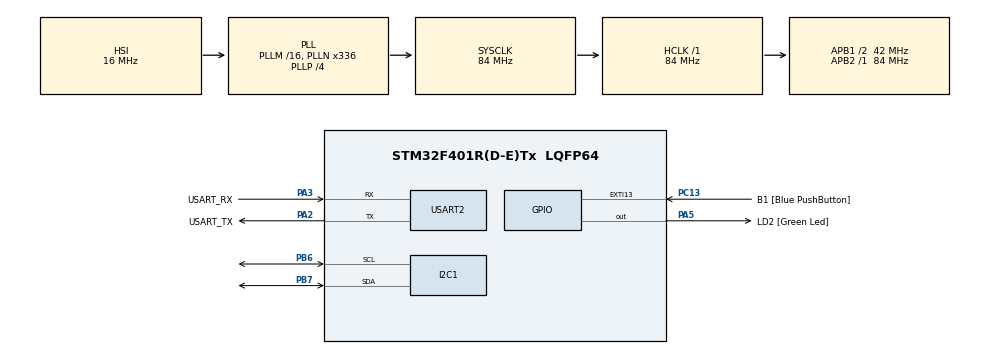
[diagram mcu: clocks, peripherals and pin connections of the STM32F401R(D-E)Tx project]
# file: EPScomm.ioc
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Mcu.Family=STM32F4
Mcu.Name=STM32F401R(D-E)Tx
Mcu.Package=LQFP64
NVIC.PriorityGroup=NVIC_PRIORITYGROUP_0
PA13.GPIO_Label=TMS
PA13.Signal=SYS_JTMS-SWDIO
PA14.GPIO_Label=TCK
PA14.Signal=SYS_JTCK-SWCLK
PA2.GPIO_Label=USART_TX
PA2.GPIO_Mode=GPIO_MODE_AF_PP
PA2.GPIO_PuPd=GPIO_NOPULL
PA2.GPIO_Speed=GPIO_SPEED_FREQ_LOW
PA2.Mode=Asynchronous
PA2.Signal=USART2_TX
PA3.GPIO_Label=USART_RX
PA3.GPIO_Mode=GPIO_MODE_AF_PP
PA3.GPIO_PuPd=GPIO_NOPULL
PA3.GPIO_Speed=GPIO_SPEED_FREQ_LOW
PA3.Mode=Asynchronous
PA3.Signal=USART2_RX
PA5.GPIO_Label=LD2 [Green Led]
PA5.GPIO_Mode=GPIO_MODE_OUTPUT_PP
PA5.GPIO_PuPd=GPIO_NOPULL
PA5.GPIO_Speed=GPIO_SPEED_FREQ_LOW
PA5.Signal=GPIO_Output
PB3.GPIO_Label=SWO
PB3.Signal=SYS_JTDO-SWO
PB6.Mode=I2C
PB6.Signal=I2C1_SCL
PB7.Mode=I2C
PB7.Signal=I2C1_SDA
PC13-ANTI_TAMP.GPIO_Label=B1 [Blue PushButton]
PC13-ANTI_TAMP.GPIO_ModeDefaultEXTI=GPIO_MODE_IT_FALLING
PC13-ANTI_TAMP.GPIO_PuPd=GPIO_NOPULL
PC13-ANTI_TAMP.Signal=GPXTI13
PC14-OSC32_IN.Signal=RCC_OSC32_IN
PC15-OSC32_OUT.Signal=RCC_OSC32_OUT
PH0\ -\ OSC_IN.Signal=RCC_OSC_IN
PH1\ -\ OSC_OUT.Signal=RCC_OSC_OUT
ProjectManager.HeapSize=0x200
ProjectManager.StackSize=0x400
ProjectManager.TargetToolchain=SW4STM32
RCC.AHBFreq_Value=84000000
RCC.APB1CLKDivider=RCC_HCLK_DIV2
RCC.APB1Freq_Value=42000000
RCC.APB1TimFreq_Value=84000000
RCC.APB2Freq_Value=84000000
RCC.APB2TimFreq_Value=84000000
RCC.CortexFreq_Value=84000000
RCC.HCLKFreq_Value=84000000
RCC.HSE_VALUE=8000000
RCC.HSI_VALUE=16000000
RCC.LSE_VALUE=32768
RCC.PLLN=336
RCC.PLLP=RCC_PLLP_DIV4
RCC.PLLQ=7
RCC.SYSCLKFreq_VALUE=84000000
RCC.SYSCLKSource=RCC_SYSCLKSOURCE_PLLCLK
RCC.VCOOutputFreq_Value=336000000
USART2.VirtualMode=VM_ASYNC
board=NUCLEO-F401RE

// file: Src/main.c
/**
  ******************************************************************************
  * File Name          : main.c
  * Description        : Main program body
  ******************************************************************************
  ** This notice applies to any and all portions of this file
  * that are not between comment pairs USER CODE BEGIN and
  * USER CODE END. Other portions of this file, whether
  * inserted by the user or by software development tools
  * are owned by their respective copyright owners.
  *
  * COPYRIGHT(c) 2018 STMicroelectronics
  *
  * Redistribution and use in source and binary forms, with or without modification,
  * are permitted provided that the following conditions are met:
  *   1. Redistributions of source code must retain the above copyright notice,
  *      this list of conditions and the following disclaimer.
  *   2. Redistributions in binary form must reproduce the above copyright notice,
  *      this list of conditions and the following disclaimer in the documentation
  *      and/or other materials provided with the distribution.
  *   3. Neither the name of STMicroelectronics nor the names of its contributors
  *      may be used to endorse or promote products derived from this software
  *      without specific prior written permission.
  *
  * THIS SOFTWARE IS PROVIDED BY THE COPYRIGHT HOLDERS AND CONTRIBUTORS "AS IS"
  * AND ANY EXPRESS OR IMPLIED WARRANTIES, INCLUDING, BUT NOT LIMITED TO, THE
  * IMPLIED WARRANTIES OF MERCHANTABILITY AND FITNESS FOR A PARTICULAR PURPOSE ARE
  * DISCLAIMED. IN NO EVENT SHALL THE COPYRIGHT HOLDER OR CONTRIBUTORS BE LIABLE
  * FOR ANY DIRECT, INDIRECT, INCIDENTAL, SPECIAL, EXEMPLARY, OR CONSEQUENTIAL
  * DAMAGES (INCLUDING, BUT NOT LIMITED TO, PROCUREMENT OF SUBSTITUTE GOODS OR
  * SERVICES; LOSS OF USE, DATA, OR PROFITS; OR BUSINESS INTERRUPTION) HOWEVER
  * CAUSED AND ON ANY THEORY OF LIABILITY, WHETHER IN CONTRACT, STRICT LIABILITY,
  * OR TORT (INCLUDING NEGLIGENCE OR OTHERWISE) ARISING IN ANY WAY OUT OF THE USE
  * OF THIS SOFTWARE, EVEN IF ADVISED OF THE POSSIBILITY OF SUCH DAMAGE.
  *
  ******************************************************************************
  */
#include "main.h"
#include "stm32f4xx_hal.h"

I2C_HandleTypeDef hi2c1;

UART_HandleTypeDef huart2;

/* USER CODE BEGIN PV */
/* Private variables ---------------------------------------------------------*/
#define EPS_ADDRESS 0x2B
#define BAT_ADDRESS 0x2A

#define DEFAULT_DATA 0x00

//EPS Module Telemetry Commands

#define EPS_BOARD_STATUS_COMMAND 0x01
#define EPS_ERROR_COMMAND 0x03
#define EPS_GET_VERSION_COMMAND 0x04
#define EPS_GET_CHECKSUM_COMMAND 0x05
#define EPS_GET_TELEMETRY 0x10
#define EPS_GET_COMMS_WATCHDOG 0x20
#define EPS_SET_COMMS_WATCHDOG 0x21
#define EPS_RESET_COMMS_WATCHDOG 0x22
#define EPS_GET_BROWNOUT_RESETS 0x31
#define EPS_GET_AUTO_SOFTWARE_RESETS 0x32
#define EPS_GET_MANUAL_RESETS 0x33
#define EPS_GET_COMMS_WATCHDOG_RESETS 0x34
#define EPS_ALLPDM_ON 0x40
#define EPS_ALLPDM_OFF 0x41
#define EPS_GET_ACTUAL_STATE_ALLPDM 0x42
#define EPS_GET_EXPECTED_STATE_ALLPDM 0x43
#define EPS_GET_INITIAL_STATE_ALLPDM 0x44
#define EPS_SET_ALLPDM_TO_INITIAL_STATE 0x45
#define EPS_SET_PDMN_ON 0x50
#define EPS_SET_PDMN_OFF 0x51
#define EPS_SET_PDMN_INITIAL_STATE_ON 0x52
#define EPS_SET_PDMN_INITIAL_STATE_OFF 0x53
#define EPS_GET_PDMN_ACTUAL_STATUS 0x54
#define EPS_SET_PDMN_TIMER_LIMIT 0x60
#define EPS_GET_PDMN_TIMER_LIMIT 0x61
#define EPS_GET_PDMN_CURRENT_TIMER_LIMIT 0x62
#define EPS_PCM_RESET_COMMAND 0x70
#define EPS_MANUAL_RESET_COMMAND 0x80

//EPS get telemetry data values
#define IIDIODE_OUT_DATA1 0xE2
#define IIDIODE_OUT_DATA0 0x84
#define VIDIODE_OUT_DATA1 0xE2
#define VIDIODE_OUT_DATA0 0x80
#define I3V3_DRW_DATA1 0xE2
#define I3V3_DRW_DATA0 0x05
#define I5V_DRW_DATA1 0xE2
#define I5V_DRW_DATA0 0x15
#define IPCM12V_DATA1 0xE2
#define IPCM12V_DATA0 0x34
#define VPCM12V_DATA1 0xE2
#define VPCM12V_DATA0 0x30
#define IPCMBATV_DATA1 0xE2
#define IPCMBATV_DATA0 0x24
#define VPCMBATV_DATA1 0xE2
#define VPCMBATV_DATA0 0x20
#define IPCM5V_DATA1 0xE2
#define IPCM5V_DATA0 0x14
#define VPCM5V_DATA1 0xE2
#define VPCM5V_DATA0 0x10
#define IPCM3V3_DATA1 0xE2
#define IPCM3V3_DATA0 0x04
#define VPCM3V3_DATA1 0xE2
#define VPCM3V3_DATA0 0x00

#define VSW1_DATA1 0xE4
#define VSW1_DATA0 0x10
#define ISW1_DATA1 0xE4
#define ISW1_DATA0 0x14
#define VSW2_DATA1 0xE4
#define VSW2_DATA0 0x20
#define ISW2_DATA1 0xE4
#define ISW2_DATA0 0x24
#define VSW3_DATA1 0xE4
#define VSW3_DATA0 0x30
#define ISW3_DATA1 0xE4
#define ISW3_DATA0 0x34
#define VSW4_DATA1 0xE4
#define VSW4_DATA0 0x40
#define ISW4_DATA1 0xE4
#define ISW4_DATA0 0x44
#define VSW5_DATA1 0xE4
#define VSW5_DATA0 0x50
#define ISW5_DATA1 0xE4
#define ISW5_DATA0 0x54
#define VSW6_DATA1 0xE4
#define VSW6_DATA0 0x60
#define ISW6_DATA1 0xE4
#define ISW6_DATA0 0x64
#define VSW7_DATA1 0xE4
#define VSW7_DATA0 0x70
#define ISW7_DATA1 0xE4
#define ISW7_DATA0 0x74
#define VSW8_DATA1 0xE4
#define VSW8_DATA0 0x80
#define ISW8_DATA1 0xE4
#define ISW8_DATA0 0x84
#define VSW9_DATA1 0xE4
#define VSW9_DATA0 0x90
#define ISW9_DATA1 0xE4
#define ISW9_DATA0 0x94
#define VSW10_DATA1 0xE4
#define VSW10_DATA0 0xA0
#define ISW10_DATA1 0xE4
#define ISW10_DATA0 0xA4
#define TBRD_DATA1 0xE3
#define TBRD_DATA0 0x08

#define VBCR1_DATA1 0xE1
#define VBCR1_DATA0 0x10
#define IBCR1A_DATA1 0xE1
#define IBCR1A_DATA0 0x14
#define IBCR1B_DATA1 0xE1
#define IBCR1B_DATA0 0x15
#define TBCR1A_DATA1 0xE1
#define TBCR1A_DATA0 0x18
#define TBCR1B_DATA1 0xE1
#define TBCR1B_DATA0 0x19
#define SDBCR1A_DATA1 0xE1
#define SDBCR1A_DATA0 0x1C
#define SDBCR1B_DATA1 0xE1
#define SDBCR1B_DATA0 0x1D

#define VBCR2_DATA1 0xE1
#define VBCR2_DATA0 0x20
#define IBCR2A_DATA1 0xE1
#define IBCR2A_DATA0 0x24
#define IBCR2B_DATA1 0xE1
#define IBCR2B_DATA0 0x25
#define TBCR2A_DATA1 0xE1
#define TBCR2A_DATA0 0x28
#define TBCR2B_DATA1 0xE1
#define TBCR2B_DATA0 0x29
#define SDBCR2A_DATA1 0xE1
#define SDBCR2A_DATA0 0x2C
#define SDBCR2B_DATA1 0xE1
#define SDBCR2B_DATA0 0x2D

#define VBCR3_DATA1 0xE1
#define VBCR3_DATA0 0x30
#define IBCR3A_DATA1 0xE1
#define IBCR3A_DATA0 0x34
#define IBCR3B_DATA1 0xE1
#define IBCR3B_DATA0 0x35
#define TBCR3A_DATA1 0xE1
#define TBCR3A_DATA0 0x38
#define TBCR3B_DATA1 0xE1
#define TBCR3B_DATA0 0x39
#define SDBCR3A_DATA1 0xE1
#define SDBCR3A_DATA0 0x3C
#define SDBCR3B_DATA1 0xE1
#define SDBCR3B_DATA0 0x3D

//PCM Control Data Bytes
#define BATV_RESET_DATA 0x01
#define V5_RESET_DATA 0x02
#define V3_RESET_DATA 0x04
#define V12_RESET_DATA 0x08

//BAT Module Telemetry Commands
#define BAT_BOARD_STASUS_COMMAND 0x01
#define BAT_ERROR_COMMAND 0x03
#define BAT_GET_VERSION_COMMAND 0x04
#define BAT_GET_CHECKSUM_COMMAND 0x05
#define BAT_GET_TELEMETRY_COMMAND 0x10
#define BAT_GET_BROWNOUT_COMMAND 0x31
#define BAT_GET_AUTO_SOFTWARE_RESET_COMMAND 0x32
#define BAT_GET_MANUAL_RESET_COMMAND 0x33
#define BAT_GET_HEATER_CONTROLLER_STATUS 0x90
#define BAT_SET_HEATER_CONTROLLER_STATUS 0x91
#define BAT_MANUAL_RESET 0x80

//HEATER CONTROLLER MODES
#define HEATER_THERMOSTAT_OFF 0x00
#define HEATER_THERMOSTAT_ON 0x01

//BAT Telemetry Data Values
#define VBAT_DATA1 0xE2
#define VBAT_DATA0 0x80
#define IBAT_DATA1 0xE2
#define IBAT_DATA0 0x84
#define IDIRBAT_DATA1 0xE2
#define IDIRBAT_DATA2 0x8E
#define TBRD_DATA1 0xE3
#define TBRD_DATA0 0x08
#define IPCM5V_DATA1 0xE2
#define IPCM5V_DATA0 0x14
#define VPCM5V_DATA1 0xE2
#define VPCM5V_DATA0 0x10
#define IPCM3V3_DATA1 0xE2
#define IPCM3V3_DATA0 0x04
#define VPCM3V3_DATA1 0xE2
#define VPCM3V3_DATA0 0x00
#define TBAT1_DATA1 0xE3
#define TBAT1_DATA0 0x98
#define HBAT1_DATA1 0xE3
#define HBAT1_DATA0 0x9F
#define TBAT2_DATA1 0xE3
#define TBAT2_DATA0 0xA8
#define HBAT2_DATA1 0xE3
#define HBAT2_DATA0 0xAF
#define TBAT3_DATA1 0xE3
#define TBAT3_DATA0 0xB8
#define HBAT3_DATA1 0xE3
#define HBAT3_DATA0 0xBF

/* USER CODE END PV */

void SystemClock_Config(void);
static void MX_GPIO_Init(void);
static void MX_I2C1_Init(void);
static void MX_USART2_UART_Init(void);

/* USER CODE BEGIN PFP */
/* Private function prototypes -----------------------------------------------*/
void getStatus(uint8_t address,uint8_t data_received[]);
void sendCommand(uint8_t address, uint8_t command, uint8_t data_sent, uint8_t data_received[], int bytes_returned, int delay);
void getError(uint8_t address,uint8_t data_received[]);
void getTelemetry(uint8_t address, uint8_t command, uint8_t data1, uint8_t data0, uint8_t data_received[], int bytes_returned, int delay);
void setPDMTimerLimit(uint8_t timerLimit, uint8_t selectedPDM);
void manualReset(uint8_t address);
/* USER CODE END PFP */

int main(void)
{

  /* MCU Configuration----------------------------------------------------------*/

  /* Reset of all peripherals, Initializes the Flash interface and the Systick. */
  HAL_Init();

  /* Configure the system clock */
  SystemClock_Config();

  /* Initialize all configured peripherals */
  MX_GPIO_Init();
  MX_I2C1_Init();
  MX_USART2_UART_Init();

  /* Infinite loop */
  while (1)
  {

  /* USER CODE BEGIN 3 */
	  uint8_t address;
	  uint8_t returnData[4] = {0b00000000, 0b00000000, 0b00000000, 0b00000000};
	  uint8_t data1 = 0b00000000;
	  uint8_t data0 = 0b00000000;
	  uint8_t command = 0b00000000;

	  char select = 0;
	  int returnBytes = 0;
	  int delay = 0;
	  int timer = 0;
	  int PDM = 0;

	  //Read Select and Address

	  if (select == 's'){

		  getStatus(address,returnData);

	  }

	  else if (select == 'e'){

		  getError(address,returnData);

	  }

	  else if (select == 'r'){

		  manualReset(address);
	  }

	  else if (select == 't'){
		  //Read command,data1,data0,returnbytes,delay
		  getTelemetry(address,command,data1,data0,returnData,returnBytes,delay);
	  }

	  else if (select == 'c'){
		  // Read command,data1,returnbytes,delay
		  sendCommand(address,command,data1,returnData,returnBytes,delay);

	  }
	  else if (select == 'p'){
		  // Read Timer Limit and PDM
		  setPDMTimerLimit(timer,PDM);
	  }

	  else {
		  printf("Command not recognized");
	  }

	  //print the array

  }
  /* USER CODE END 3 */

}

/** System Clock Configuration
*/
void SystemClock_Config(void)
{

  RCC_OscInitTypeDef RCC_OscInitStruct;
  RCC_ClkInitTypeDef RCC_ClkInitStruct;

    /**Configure the main internal regulator output voltage
    */
  __HAL_RCC_PWR_CLK_ENABLE();

  __HAL_PWR_VOLTAGESCALING_CONFIG(PWR_REGULATOR_VOLTAGE_SCALE2);

    /**Initializes the CPU, AHB and APB busses clocks
    */
  RCC_OscInitStruct.OscillatorType = RCC_OSCILLATORTYPE_HSI;
  RCC_OscInitStruct.HSIState = RCC_HSI_ON;
  RCC_OscInitStruct.HSICalibrationValue = 16;
  RCC_OscInitStruct.PLL.PLLState = RCC_PLL_ON;
  RCC_OscInitStruct.PLL.PLLSource = RCC_PLLSOURCE_HSI;
  RCC_OscInitStruct.PLL.PLLM = 16;
  RCC_OscInitStruct.PLL.PLLN = 336;
  RCC_OscInitStruct.PLL.PLLP = RCC_PLLP_DIV4;
  RCC_OscInitStruct.PLL.PLLQ = 7;
  if (HAL_RCC_OscConfig(&RCC_OscInitStruct) != HAL_OK)
  {
    _Error_Handler(__FILE__, __LINE__);
  }

    /**Initializes the CPU, AHB and APB busses clocks
    */
  RCC_ClkInitStruct.ClockType = RCC_CLOCKTYPE_HCLK|RCC_CLOCKTYPE_SYSCLK
                              |RCC_CLOCKTYPE_PCLK1|RCC_CLOCKTYPE_PCLK2;
  RCC_ClkInitStruct.SYSCLKSource = RCC_SYSCLKSOURCE_PLLCLK;
  RCC_ClkInitStruct.AHBCLKDivider = RCC_SYSCLK_DIV1;
  RCC_ClkInitStruct.APB1CLKDivider = RCC_HCLK_DIV2;
  RCC_ClkInitStruct.APB2CLKDivider = RCC_HCLK_DIV1;

  if (HAL_RCC_ClockConfig(&RCC_ClkInitStruct, FLASH_LATENCY_2) != HAL_OK)
  {
    _Error_Handler(__FILE__, __LINE__);
  }

    /**Configure the Systick interrupt time
    */
  HAL_SYSTICK_Config(HAL_RCC_GetHCLKFreq()/1000);

    /**Configure the Systick
    */
  HAL_SYSTICK_CLKSourceConfig(SYSTICK_CLKSOURCE_HCLK);

  /* SysTick_IRQn interrupt configuration */
  HAL_NVIC_SetPriority(SysTick_IRQn, 0, 0);
}

/* I2C1 init function */
static void MX_I2C1_Init(void)
{

  hi2c1.Instance = I2C1;
  hi2c1.Init.ClockSpeed = 100000;
  hi2c1.Init.DutyCycle = I2C_DUTYCYCLE_2;
  hi2c1.Init.OwnAddress1 = 0;
  hi2c1.Init.AddressingMode = I2C_ADDRESSINGMODE_7BIT;
  hi2c1.Init.DualAddressMode = I2C_DUALADDRESS_DISABLE;
  hi2c1.Init.OwnAddress2 = 0;
  hi2c1.Init.GeneralCallMode = I2C_GENERALCALL_DISABLE;
  hi2c1.Init.NoStretchMode = I2C_NOSTRETCH_DISABLE;
  if (HAL_I2C_Init(&hi2c1) != HAL_OK)
  {
    _Error_Handler(__FILE__, __LINE__);
  }

}

/* USART2 init function */
static void MX_USART2_UART_Init(void)
{

  huart2.Instance = USART2;
  huart2.Init.BaudRate = 115200;
  huart2.Init.WordLength = UART_WORDLENGTH_8B;
  huart2.Init.StopBits = UART_STOPBITS_1;
  huart2.Init.Parity = UART_PARITY_NONE;
  huart2.Init.Mode = UART_MODE_TX_RX;
  huart2.Init.HwFlowCtl = UART_HWCONTROL_NONE;
  huart2.Init.OverSampling = UART_OVERSAMPLING_16;
  if (HAL_UART_Init(&huart2) != HAL_OK)
  {
    _Error_Handler(__FILE__, __LINE__);
  }

}

/** Configure pins as
        * Analog
        * Input
        * Output
        * EVENT_OUT
        * EXTI
*/
static void MX_GPIO_Init(void)
{

  GPIO_InitTypeDef GPIO_InitStruct;

  /* GPIO Ports Clock Enable */
  __HAL_RCC_GPIOC_CLK_ENABLE();
  __HAL_RCC_GPIOH_CLK_ENABLE();
  __HAL_RCC_GPIOA_CLK_ENABLE();
  __HAL_RCC_GPIOB_CLK_ENABLE();

  /*Configure GPIO pin Output Level */
  HAL_GPIO_WritePin(LD2_GPIO_Port, LD2_Pin, GPIO_PIN_RESET);

  /*Configure GPIO pin : B1_Pin */
  GPIO_InitStruct.Pin = B1_Pin;
  GPIO_InitStruct.Mode = GPIO_MODE_IT_FALLING;
  GPIO_InitStruct.Pull = GPIO_NOPULL;
  HAL_GPIO_Init(B1_GPIO_Port, &GPIO_InitStruct);

  /*Configure GPIO pin : LD2_Pin */
  GPIO_InitStruct.Pin = LD2_Pin;
  GPIO_InitStruct.Mode = GPIO_MODE_OUTPUT_PP;
  GPIO_InitStruct.Pull = GPIO_NOPULL;
  GPIO_InitStruct.Speed = GPIO_SPEED_FREQ_LOW;
  HAL_GPIO_Init(LD2_GPIO_Port, &GPIO_InitStruct);

}

void _Error_Handler(char * file, int line)
{
  while(1)
  {
  }
}

/************************ (C) COPYRIGHT STMicroelectronics *****END OF FILE****/
